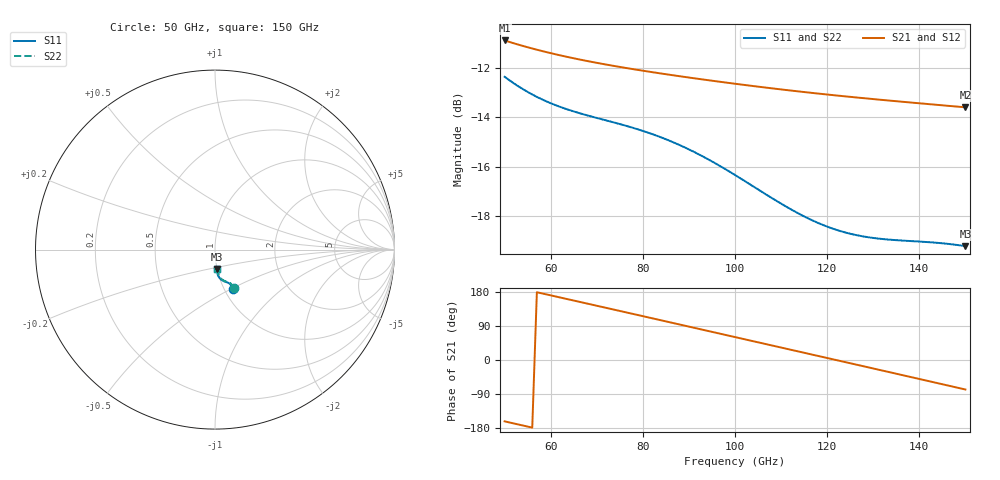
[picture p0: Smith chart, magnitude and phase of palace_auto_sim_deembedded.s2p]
! Created with skrf 1.11.0 (http://scikit-rf.org).
# GHz S DB R 50.0
!freq dBS11 angS11 dBS21 angS21 dBS12 angS12 dBS22 angS22
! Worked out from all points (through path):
!   101 points, 50 GHz to 150 GHz, reference 50 ohm
!   highest |S21| = -10.86 dB at 50 GHz (marker M1); lowest = -13.6 dB at 150 GHz (marker M2)
!   group delay of S21, straight-line fit = 7.66 ps
!   lowest |S11| = -19.2 dB at 150 GHz (marker M3), VSWR 1.24, Z = 50.1 - j11 ohm
!   |S11| at or under -10 dB: start of sweep to end of sweep
!   |S22| runs from -19.1 to -12.4 dB; largest |S21 - S12| = 3.2e-13
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50  -12.34 -65.1  -10.86 -161.9  -10.86 -161.9  -12.36 -63.8
54  -12.85 -65.6  -11.09 -172.9  -11.09 -172.9  -12.86 -64.2
58  -13.25 -65.9  -11.29 176.1  -11.29 176.1  -13.25 -64.5
62  -13.56 -66.4  -11.47 165.1  -11.47 165.1  -13.55 -64.9
67  -13.86 -67.4  -11.67 151.4  -11.67 151.4  -13.84 -66.0
72  -14.12 -69.0  -11.84 137.7  -11.84 137.7  -14.09 -67.6
76  -14.32 -70.7  -11.97 126.7  -11.97 126.7  -14.30 -69.3
80  -14.55 -72.6  -12.09 115.7  -12.09 115.7  -14.53 -71.2
84  -14.81 -74.7  -12.21 104.7  -12.21 104.7  -14.80 -73.4
88  -15.12 -76.9  -12.32 93.6  -12.32 93.6  -15.13 -75.5
92  -15.49 -78.9  -12.42 82.6  -12.42 82.6  -15.50 -77.5
96  -15.90 -80.8  -12.53 71.5  -12.53 71.5  -15.92 -79.3
100  -16.34 -82.3  -12.63 60.5  -12.63 60.5  -16.37 -80.8
105  -16.93 -83.6  -12.74 46.7  -12.74 46.7  -16.96 -82.0
109  -17.40 -84.0  -12.83 35.6  -12.83 35.6  -17.43 -82.3
117  -18.21 -83.6  -13.00 13.6  -13.00 13.6  -18.21 -81.7
121  -18.51 -82.9  -13.08 2.5  -13.08 2.5  -18.49 -81.0
125  -18.73 -82.1  -13.16 -8.5  -13.16 -8.5  -18.69 -80.3
129  -18.88 -81.4  -13.23 -19.6  -13.23 -19.6  -18.81 -79.8
134  -18.98 -81.0  -13.32 -33.4  -13.32 -33.4  -18.89 -79.7
142  -19.08 -81.5  -13.45 -55.6  -13.45 -55.6  -18.96 -80.8
150  -19.24 -83.2  -13.59 -77.9  -13.59 -77.9  -19.13 -83.2
